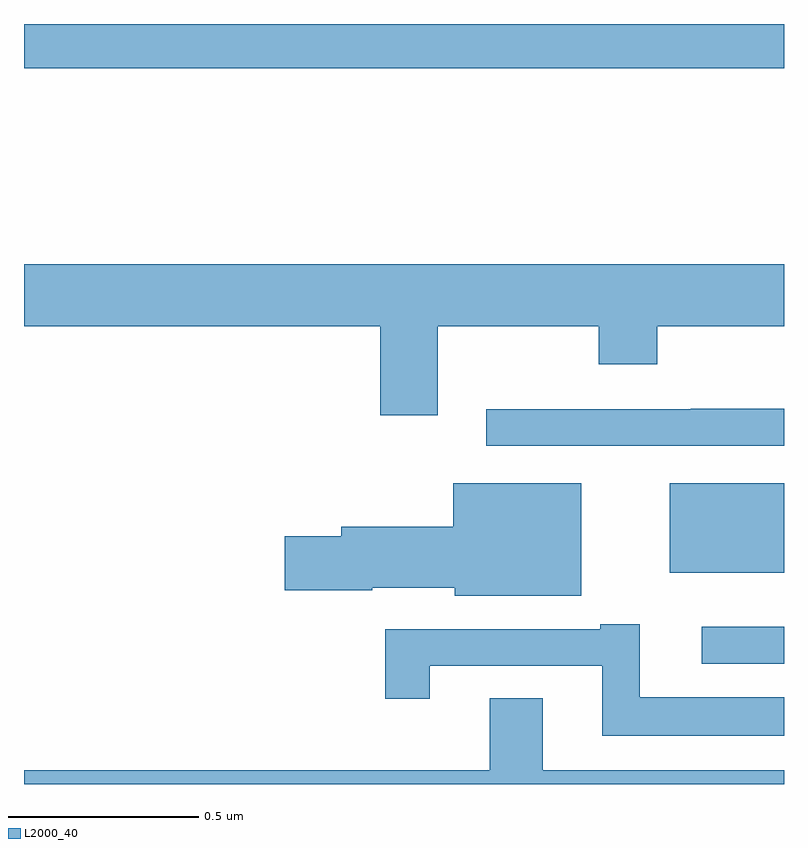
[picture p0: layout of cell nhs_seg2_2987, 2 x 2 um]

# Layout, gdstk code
import gdstk
lib = gdstk.Library(unit=1e-6, precision=1e-09)
def R(c, l, rs):  # rectangles x0, y0, x1, y1
    for r in rs: c.add(gdstk.rectangle(r[:2], r[2:], *l))
def P(c, l, *ps):  # polygons
    for p in ps: c.add(gdstk.Polygon(p, *l))
L2000_40 = (2000, 40)

nhs_seg2_2987 = lib.new_cell('nhs_seg2_2987')
R(nhs_seg2_2987, L2000_40, [(149.784,612.117,150,612.214), (149.699,612.356,150,612.592), (148,613.684,150,613.8)])
P(nhs_seg2_2987, L2000_40, [(149.089,613.004),(149.512,613.004),(149.512,612.905),(149.667,612.905),(149.667,613.004),(150,613.004),(150,613.168),(148,613.168),(148,613.004),(148.937,613.004),(148.937,612.771),(149.089,612.771)],
  [(150,612.788),(149.755,612.788),(149.755,612.786),(149.217,612.786),(149.217,612.69),(150,612.69)],
  [(149.467,612.592),(149.129,612.592),(149.129,612.477),(148.835,612.477),(148.835,612.452),(148.686,612.452),(148.686,612.31),(148.916,612.31),(148.916,612.317),(149.133,612.317),(149.133,612.296),(149.467,612.296)],
  [(150,612.028),(149.62,612.028),(149.62,612.22),(149.516,612.22),(149.516,612.207),(148.951,612.207),(148.951,612.024),(149.068,612.024),(149.068,612.111),(149.522,612.111),(149.522,611.927),(150,611.927)],
  [(150,611.836),(149.365,611.836),(149.365,612.026),(149.225,612.026),(149.225,611.836),(148,611.836),(148,611.8),(150,611.8)])

lib.write_gds('nhs_seg2_2987.gds')
